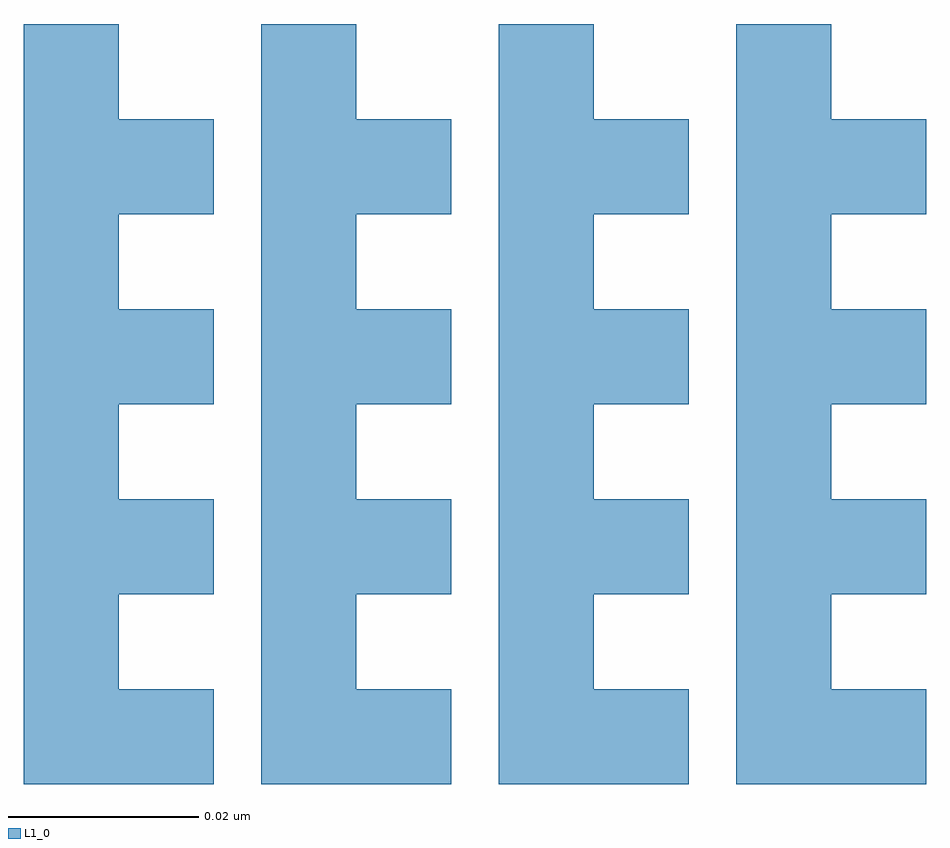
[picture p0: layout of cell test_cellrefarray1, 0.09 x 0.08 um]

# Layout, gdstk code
import gdstk
lib = gdstk.Library(unit=1e-6, precision=1e-09)
def P(c, l, *ps):  # polygons
    for p in ps: c.add(gdstk.Polygon(p, *l))
L1_0 = (1, 0)

test = lib.new_cell('test')
P(test, L1_0, [(0,0),(0,0.02),(0.01,0.02),(0.01,0.01),(0.02,0.01),(0.02,0)])

test_cellrefarray1 = lib.new_cell('test_cellrefarray1')
test_cellrefarray1.add(gdstk.Reference(test, (0,0)))
r = gdstk.Reference(test, (0,0)); r.repetition = gdstk.Repetition(4, 4, v1=(0.025,0), v2=(0,0.02)); test_cellrefarray1.add(r)

lib.write_gds('test_cellrefarray1.gds')
